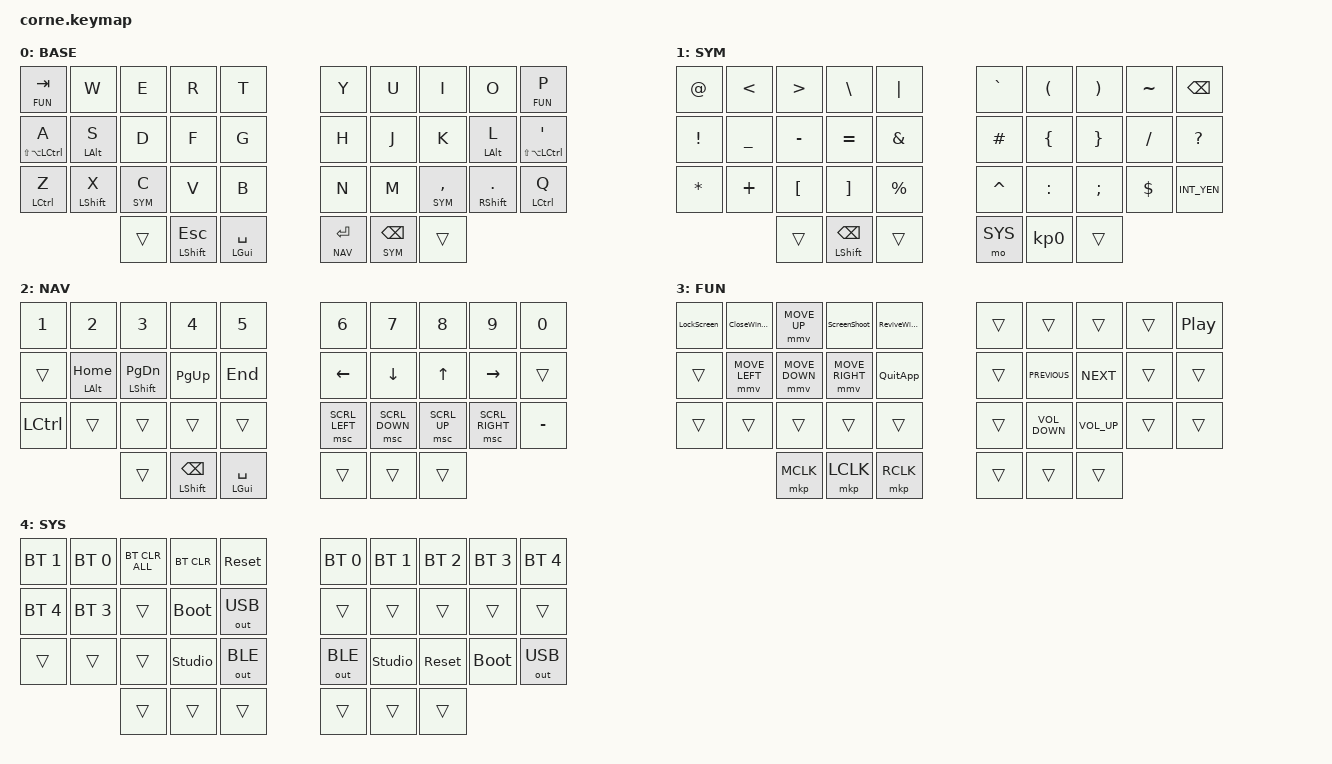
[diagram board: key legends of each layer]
/*
 * Copyright (c) 2020 The ZMK Contributors
 *
 * SPDX-License-Identifier: MIT
 */

#include <behaviors.dtsi>
#include <dt-bindings/zmk/bt.h>
#include <dt-bindings/zmk/keys.h>
#include <dt-bindings/zmk/outputs.h>
#include <dt-bindings/zmk/pointing.h>

#define BASE 0
#define SYM  1
#define NAV  2
#define FUN  3
#define SYS  4

&mt {
    quick-tap-ms = <100>;
    require-prior-idle-ms = <100>;
    flavor = "tap-preferred";
    tapping-term-ms = <180>;
};

/ {
    // Chocofi has no outer columns, so use the corne shield's 36-key layout
    chosen {
        zmk,physical-layout = &foostan_corne_5col_layout;
    };

    combos {
        compatible = "zmk,combos";

        Backspace {
            bindings = <&kp BACKSPACE>;
            key-positions = <16 17>;  // J K
            timeout-ms = <30>;
            require-prior-idle-ms = <150>;
        };

        Delete {
            bindings = <&kp DELETE>;
            key-positions = <12 13>;  // D F
            timeout-ms = <30>;
            require-prior-idle-ms = <150>;
        };

        Enter {
            bindings = <&kp ENTER>;
            key-positions = <7 8>;  // I O
            timeout-ms = <30>;
            require-prior-idle-ms = <150>;
        };

        Hyper1 {
            bindings = <&kp LS(LA(LC(LG(NUMBER_1))))>;
            key-positions = <34 7 6>;  // BSPC thumb + I U
        };

        Hyper2 {
            bindings = <&kp LS(LA(LC(LG(NUMBER_2))))>;
            key-positions = <34 17 18>;  // BSPC thumb + K L
        };

        Hyper3 {
            bindings = <&kp LS(LA(LC(LG(NUMBER_3))))>;
            key-positions = <34 27 26>;  // BSPC thumb + , M
        };
    };

    conditional_layers {
        compatible = "zmk,conditional-layers";

        sys {
            if-layers = <SYM NAV>;
            then-layer = <SYS>;
        };
    };

    macros {
        LockScreen: LockScreen {
            compatible = "zmk,behavior-macro";
            #binding-cells = <0>;
            bindings = <&kp LG(LC(Q))>;
            label = "LOCKSCREEN";
        };

        CloseWindow: CloseWindow {
            compatible = "zmk,behavior-macro";
            #binding-cells = <0>;
            bindings = <&kp LG(LS(W))>;
            label = "CLOSEWINDOW";
        };

        ScreenShoot: ScreenShoot {
            compatible = "zmk,behavior-macro";
            #binding-cells = <0>;
            bindings = <&kp LG(LS(NUMBER_4))>;
            label = "SCREENSHOOT";
        };

        ReviveWindow: ReviveWindow {
            compatible = "zmk,behavior-macro";
            #binding-cells = <0>;
            bindings = <&kp LG(LS(T))>;
            label = "REVIVEWINDOW";
        };

        Meh: Meh {
            compatible = "zmk,behavior-macro";
            #binding-cells = <0>;
            bindings = <&kp LS(LA(LEFT_CONTROL))>;
            label = "MEH";
        };

        QuitApp: QuitApp {
            compatible = "zmk,behavior-macro";
            #binding-cells = <0>;
            bindings = <&kp LG(Q)>;
            label = "QUITAPP";
        };
    };

    behaviors {
        mt_hold: mt_hold {
            compatible = "zmk,behavior-hold-tap";
            label = "MT_HOLD";
            bindings = <&kp>, <&kp>;

            #binding-cells = <2>;
            tapping-term-ms = <200>;
        };

        lt_repeat: lt_repeat {
            compatible = "zmk,behavior-hold-tap";
            label = "LT_REPEAT";
            bindings = <&mo>, <&kp>;

            #binding-cells = <2>;
            tapping-term-ms = <200>;
            quick-tap-ms = <200>;
        };

        // urob's "timeless" hold-taps: a hold only counts when the next key is on the other hand
        hml: hml {
            compatible = "zmk,behavior-hold-tap";
            #binding-cells = <2>;
            bindings = <&kp>, <&kp>;
            flavor = "balanced";
            tapping-term-ms = <280>;
            quick-tap-ms = <175>;
            require-prior-idle-ms = <150>;
            // right hand + thumbs (literal positions: Keymap Editor can't parse macros here)
            hold-trigger-key-positions = <5 6 7 8 9 15 16 17 18 19 25 26 27 28 29 30 31 32 33 34 35>;
            hold-trigger-on-release;
        };

        hmr: hmr {
            compatible = "zmk,behavior-hold-tap";
            #binding-cells = <2>;
            bindings = <&kp>, <&kp>;
            flavor = "balanced";
            tapping-term-ms = <280>;
            quick-tap-ms = <175>;
            require-prior-idle-ms = <150>;
            // left hand + thumbs
            hold-trigger-key-positions = <0 1 2 3 4 10 11 12 13 14 20 21 22 23 24 30 31 32 33 34 35>;
            hold-trigger-on-release;
        };

        ltl: ltl {
            compatible = "zmk,behavior-hold-tap";
            #binding-cells = <2>;
            bindings = <&mo>, <&kp>;
            flavor = "balanced";
            tapping-term-ms = <280>;
            quick-tap-ms = <175>;
            require-prior-idle-ms = <150>;
            // right hand + thumbs (literal positions: Keymap Editor can't parse macros here)
            hold-trigger-key-positions = <5 6 7 8 9 15 16 17 18 19 25 26 27 28 29 30 31 32 33 34 35>;
            hold-trigger-on-release;
        };

        ltr: ltr {
            compatible = "zmk,behavior-hold-tap";
            #binding-cells = <2>;
            bindings = <&mo>, <&kp>;
            flavor = "balanced";
            tapping-term-ms = <280>;
            quick-tap-ms = <175>;
            require-prior-idle-ms = <150>;
            // left hand + thumbs
            hold-trigger-key-positions = <0 1 2 3 4 10 11 12 13 14 20 21 22 23 24 30 31 32 33 34 35>;
            hold-trigger-on-release;
        };
    };

    keymap {
        compatible = "zmk,keymap";

        // ┏━━━━━━━━━━━━━━━━━━━━━━━━━━━━━━━━━━━━━━━━━━━━━━━━━━━━━━━━━━━━━━━━━━━━━━━━━━━━━━━━┓
        // 36-key layout (5 columns + 3 thumb keys per side)
        // | lt3 TAB | W | E | R | T |   | Y | U | I | O | lt3 P |
        // | hm Meh A | hm Alt S | D | F | G |   | H | J | K | hm Alt L | hm Meh ' |
        // | hm Ctrl Z | hm Sft X | lt SYM C | V | B |   | N | M | lt SYM , | hm Sft . | hm Ctrl Q |
        //       | --- | mt_hold SFT ESC | mt GUI SPC |   | lt NAV ENT | lt SYM BSPC | --- |
        // Combos: J+K BSPC, D+F DEL, I+O ENT. Hold SYM + NAV for SYS.
        // ┗━━━━━━━━━━━━━━━━━━━━━━━━━━━━━━━━━━━━━━━━━━━━━━━━━━━━━━━━━━━━━━━━━━━━━━━━━━━━━━━━┛

        base_layer {
            display-name = "BASE";
            bindings = <
&lt FUN TAB                 &kp W              &kp E        &kp R                       &kp T                 &kp Y          &kp U                    &kp I            &kp O                &lt FUN P
&hml LS(LA(LEFT_CONTROL)) A &hml LEFT_ALT S    &kp D        &kp F                       &kp G                 &kp H          &kp J                    &kp K            &hmr LEFT_ALT L       &hmr LS(LA(LEFT_CONTROL)) SINGLE_QUOTE
&hml LEFT_CONTROL Z         &hml LEFT_SHIFT X  &ltl SYM C   &kp V                       &kp B                 &kp N          &kp M                    &ltr SYM COMMA   &hmr RIGHT_SHIFT DOT  &hmr LEFT_CONTROL Q
                                               &trans       &mt_hold LEFT_SHIFT ESCAPE  &mt LEFT_GUI SPACE    &lt NAV ENTER  &lt_repeat SYM BACKSPACE  &trans
            >;
        };

        // | @ | < | > | \ | | |   | ` | ( | ) | ~ | BSPC |
        // | ! | _ | - | = | & |   | # | { | } | / | ? |
        // | * | + | [ | ] | % |   | ^ | : | ; | $ | ¥ |
        //       | --- | mt SFT BSPC | --- |   | mo SYS | KP0 | --- |

        sym_layer {
            display-name = "SYM";
            bindings = <
&kp AT           &kp LESS_THAN  &kp GREATER_THAN  &kp BACKSLASH             &kp PIPE       &kp GRAVE  &kp LEFT_PARENTHESIS  &kp RIGHT_PARENTHESIS  &kp TILDE   &kp BACKSPACE
&kp EXCLAMATION  &kp UNDER      &kp MINUS         &kp EQUAL                 &kp AMPS       &kp HASH   &kp LEFT_BRACE        &kp RIGHT_BRACE        &kp SLASH   &kp QUESTION
&kp STAR         &kp PLUS       &kp LEFT_BRACKET  &kp RIGHT_BRACKET         &kp PERCENT    &kp CARET  &kp COLON             &kp SEMI               &kp DOLLAR  &kp INT_YEN
                                &trans            &mt LEFT_SHIFT BACKSPACE  &trans         &mo SYS    &kp KP_N0             &trans
            >;
        };

        // | 1 | 2 | 3 | 4 | 5 |   | 6 | 7 | 8 | 9 | 0 |
        // | --- | mt Alt HOME | mt Sft PgDn | PgUp | END |   | ← | ↓ | ↑ | → | --- |
        // | Ctrl | --- | --- | --- | --- |   | ScrL | ScrD | ScrU | ScrR | - |
        //       | --- | mt SFT BSPC | mt GUI SPC |   | --- | --- | --- |

        nav_layer {
            display-name = "NAV";
            bindings = <
&kp NUMBER_1      &kp NUMBER_2       &kp NUMBER_3              &kp NUMBER_4              &kp NUMBER_5          &kp NUMBER_6    &kp NUMBER_7    &kp NUMBER_8  &kp NUMBER_9     &kp NUMBER_0
&trans            &mt LEFT_ALT HOME  &mt LEFT_SHIFT PAGE_DOWN  &kp PAGE_UP               &kp END               &kp LEFT_ARROW  &kp DOWN_ARROW  &kp UP_ARROW  &kp RIGHT_ARROW  &trans
&kp LEFT_CONTROL  &trans             &trans                    &trans                    &trans                &msc SCRL_LEFT  &msc SCRL_DOWN  &msc SCRL_UP  &msc SCRL_RIGHT  &kp MINUS
                                     &trans                    &mt LEFT_SHIFT BACKSPACE  &mt LEFT_GUI SPACE    &trans          &trans          &trans
            >;
        };

        // | LockScr | CloseWin | mouse↑ | Screenshot | ReviveWin |   | --- | --- | --- | --- | Play/Pause |
        // | --- | mouse← | mouse↓ | mouse→ | QuitApp |   | --- | Prev | Next | --- | --- |
        // | --- | --- | --- | --- | --- |   | --- | Vol- | Vol+ | --- | --- |
        //       | MClick | LClick | RClick |   | --- | --- | --- |

        fun_layer {
            display-name = "FUN";
            bindings = <
&LockScreen  &CloseWindow    &mmv MOVE_UP    &ScreenShoot     &ReviveWindow    &trans  &trans             &trans           &trans  &kp C_PLAY_PAUSE
&trans       &mmv MOVE_LEFT  &mmv MOVE_DOWN  &mmv MOVE_RIGHT  &QuitApp         &trans  &kp C_PREVIOUS     &kp C_NEXT       &trans  &trans
&trans       &trans          &trans          &trans           &trans           &trans  &kp C_VOLUME_DOWN  &kp C_VOLUME_UP  &trans  &trans
                             &mkp MCLK       &mkp LCLK        &mkp RCLK        &trans  &trans             &trans
            >;
        };

        // | BT1 | BT0 | BT clr all | BT clr | reset |   | BT0 | BT1 | BT2 | BT3 | BT4 |
        // | BT4 | BT3 | --- | bootload | OUT USB |   | --- | --- | --- | --- | --- |
        // | --- | --- | --- | studio_unlock | OUT BLE |   | OUT BLE | studio_unlock | reset | bootload | OUT USB |
        //       | --- | --- | --- |   | --- | --- | --- |

        sys_layer {
            display-name = "SYS";
            bindings = <
&bt BT_SEL 1  &bt BT_SEL 0  &bt BT_CLR_ALL  &bt BT_CLR      &sys_reset    &bt BT_SEL 0  &bt BT_SEL 1    &bt BT_SEL 2  &bt BT_SEL 3  &bt BT_SEL 4
&bt BT_SEL 4  &bt BT_SEL 3  &trans          &bootloader     &out OUT_USB  &trans        &trans          &trans        &trans        &trans
&trans        &trans        &trans          &studio_unlock  &out OUT_BLE  &out OUT_BLE  &studio_unlock  &sys_reset    &bootloader   &out OUT_USB
                            &trans          &trans          &trans        &trans        &trans          &trans
            >;
        };
    };
};
